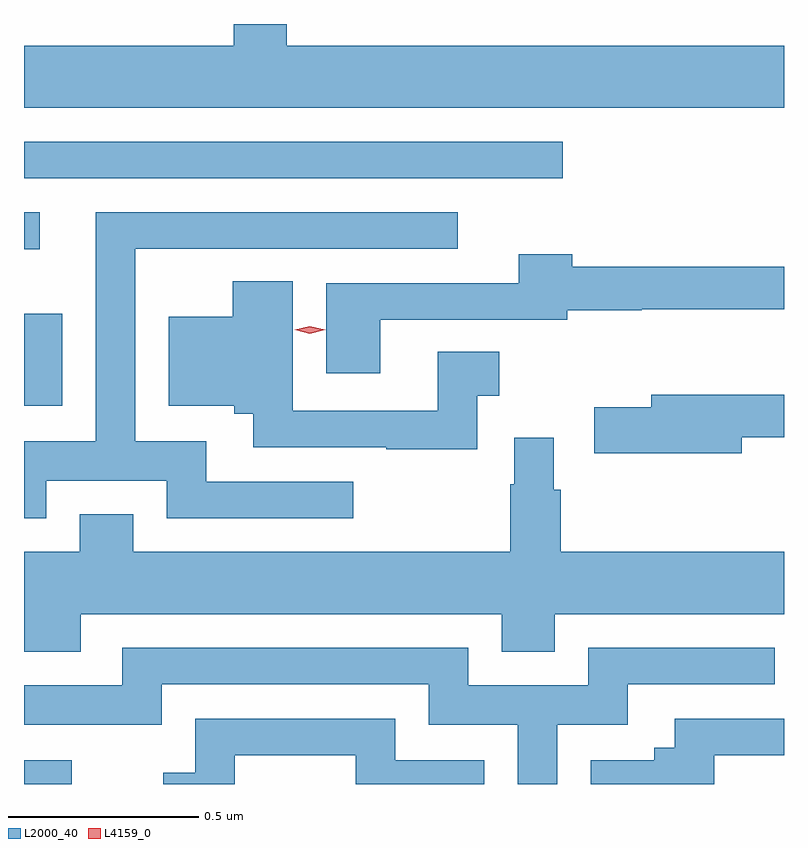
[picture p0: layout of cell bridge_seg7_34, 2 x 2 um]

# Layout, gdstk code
import gdstk
lib = gdstk.Library(unit=1e-6, precision=1e-09)
def R(c, l, rs):  # rectangles x0, y0, x1, y1
    for r in rs: c.add(gdstk.rectangle(r[:2], r[2:], *l))
def P(c, l, *ps):  # polygons
    for p in ps: c.add(gdstk.Polygon(p, *l))
L2000_40 = (2000, 40)
L4159_0 = (4159, 0)

bridge_seg7_34 = lib.new_cell('bridge_seg7_34')
R(bridge_seg7_34, L2000_40, [(996.779,1061.441,996.904,1061.503), (996.779,1062.437,996.88,1062.679), (996.779,1062.848,996.82,1062.945), (996.779,1063.035,998.197,1063.131)])
P(bridge_seg7_34, L2000_40, [(998.779,1063.384),(997.471,1063.384),(997.471,1063.441),(997.331,1063.441),(997.331,1063.384),(996.779,1063.384),(996.779,1063.22),(998.779,1063.22)],
  [(996.838,1062.239),(997.154,1062.239),(997.154,1062.141),(997.645,1062.141),(997.645,1062.237),(997.258,1062.237),(997.258,1062.343),(997.072,1062.343),(997.072,1062.849),(997.921,1062.849),(997.921,1062.945),(996.968,1062.945),(996.968,1062.343),(996.779,1062.343),(996.779,1062.141),(996.838,1062.141)],
  [(997.717,1062.663),(998.209,1062.663),(998.209,1062.688),(998.405,1062.688),(998.405,1062.691),(998.779,1062.691),(998.779,1062.802),(998.222,1062.802),(998.222,1062.835),(998.081,1062.835),(998.081,1062.759),(997.574,1062.759),(997.574,1062.522),(997.717,1062.522)],
  [(997.972,1062.463),(998.029,1062.463),(998.029,1062.578),(997.868,1062.578),(997.868,1062.423),(997.486,1062.423),(997.486,1062.764),(997.328,1062.764),(997.328,1062.67),(997.16,1062.67),(997.16,1062.437),(997.332,1062.437),(997.332,1062.416),(997.382,1062.416),(997.382,1062.327),(997.732,1062.327),(997.732,1062.322),(997.972,1062.322)],
  [(998.668,1062.354),(998.779,1062.354),(998.779,1062.465),(998.429,1062.465),(998.429,1062.433),(998.28,1062.433),(998.28,1062.311),(998.668,1062.311)],
  [(996.928,1061.888),(998.036,1061.888),(998.036,1061.789),(998.176,1061.789),(998.176,1061.888),(998.779,1061.888),(998.779,1062.052),(998.191,1062.052),(998.191,1062.215),(998.173,1062.215),(998.173,1062.352),(998.069,1062.352),(998.069,1062.23),(998.059,1062.23),(998.059,1062.052),(997.066,1062.052),(997.066,1062.151),(996.926,1062.151),(996.926,1062.052),(996.779,1062.052),(996.779,1061.789),(996.928,1061.789)],
  [(998.182,1061.597),(998.368,1061.597),(998.368,1061.703),(998.755,1061.703),(998.755,1061.799),(998.264,1061.799),(998.264,1061.701),(997.948,1061.701),(997.948,1061.799),(997.037,1061.799),(997.037,1061.701),(996.779,1061.701),(996.779,1061.597),(997.141,1061.597),(997.141,1061.703),(997.844,1061.703),(997.844,1061.597),(998.078,1061.597),(998.078,1061.441),(998.182,1061.441)],
  [(998.596,1061.517),(998.779,1061.517),(998.779,1061.613),(998.492,1061.613),(998.492,1061.536),(998.438,1061.536),(998.438,1061.503),(998.27,1061.503),(998.27,1061.441),(998.596,1061.441)],
  [(997.333,1061.517),(997.652,1061.517),(997.652,1061.441),(997.99,1061.441),(997.99,1061.503),(997.756,1061.503),(997.756,1061.613),(997.229,1061.613),(997.229,1061.47),(997.146,1061.47),(997.146,1061.441),(997.333,1061.441)])
P(bridge_seg7_34, L4159_0, [(997.531,1062.626),(997.491,1062.636),(997.49,1062.636),(997.491,1062.637),(997.531,1062.646),(997.572,1062.637),(997.572,1062.636),(997.572,1062.636)])

lib.write_gds('bridge_seg7_34.gds')
